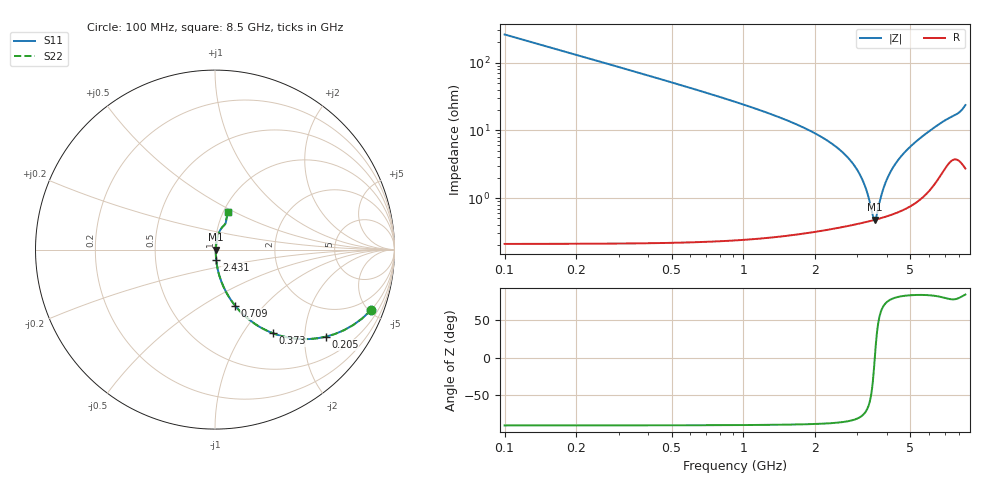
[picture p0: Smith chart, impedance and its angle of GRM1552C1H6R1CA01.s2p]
!Murata Part Number: GRM1552C1H6R1CA01
!These Parameters are Measured in Series Mode Connection
!Data Generated on Mar 30, 2021
!  o--ll--o
!Port1  Port2
!  o------o
!Operation Temp=25[degC], DC Bias Voltage=0[V]
!Freq. Start=100[MHz] Stop=9[GHz] 401[Steps]
# Hz S RI R 50
!Freq.(Hz) S11(Real) S11(Imag) S21(Real) S21(Imag) S12(Real) S12(Imag) S22(Real) S22(Imag)
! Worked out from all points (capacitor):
!   401 points, 100 MHz to 8.5 GHz, reference 50 ohm
!   read as one part in series: C = 6.1 pF near 142 MHz
!   lowest |Z| = 477 mohm at 3.544 GHz (marker M1)
!   series resonance near 3.549 GHz, so ESL is about 330 pH
!   S11 on the Smith chart (normalised r, x): 100 MHz: 1.00, -5.21; 205 MHz: 1.00, -2.54; 373 MHz: 1.00, -1.38; 709 MHz: 1.00, -0.71; 2.431 GHz: 1.01, -0.12; 8.5 GHz: 1.05, +0.47
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1e8  0.8715 -0.3342  0.1285 0.3342  0.1285 0.3342  0.8715 -0.3342
2.05e8  0.6166 -0.4854  0.3834 0.4854  0.3834 0.4854  0.6166 -0.4854
3.73e8  0.3243 -0.4666  0.6757 0.4666  0.6757 0.4666  0.3243 -0.4666
5.2e8  0.1955 -0.3943  0.8045 0.3943  0.8045 0.3943  0.1955 -0.3943
7.09e8  0.1127 -0.3131  0.8873 0.3131  0.8873 0.3131  0.1127 -0.3131
1.507e9  0.0225 -0.139  0.9775 0.139  0.9775 0.139  0.0225 -0.139
2.431e9  0.00686 -0.0573  0.9931 0.0573  0.9931 0.0573  0.00686 -0.0573
2.914e9  0.00492 -0.0296  0.9951 0.0296  0.9951 0.0296  0.00492 -0.0296
3.208e9  0.00458 -0.0152  0.9954 0.0152  0.9954 0.0152  0.00458 -0.0152
3.334e9  0.00458 -0.00945  0.9954 0.00945  0.9954 0.00945  0.00458 -0.00945
3.481e9  0.00468 -0.00295  0.9953 0.00295  0.9953 0.00295  0.00468 -0.00295
3.544e9  0.00474 -0.00023  0.9953 0.00023  0.9953 0.00023  0.00474 -0.00023
3.607e9  0.00483 0.00245  0.9952 -0.00245  0.9952 -0.00245  0.00483 0.00245
3.775e9  0.00513 0.00942  0.9949 -0.00942  0.9949 -0.00942  0.00513 0.00942
3.901e9  0.00543 0.0145  0.9946 -0.0145  0.9946 -0.0145  0.00543 0.0145
4.069e9  0.00592 0.0211  0.9941 -0.0211  0.9941 -0.0211  0.00592 0.0211
4.3e9  0.00677 0.03  0.9932 -0.03  0.9932 -0.03  0.00677 0.03
4.867e9  0.00976 0.0512  0.9902 -0.0512  0.9902 -0.0512  0.00976 0.0512
5.707e9  0.0174 0.0822  0.9826 -0.0822  0.9826 -0.0822  0.0174 0.0822
7.114e9  0.0473 0.1323  0.9527 -0.1323  0.9527 -0.1323  0.0473 0.1323
7.954e9  0.0622 0.1608  0.9378 -0.1608  0.9378 -0.1608  0.0622 0.1608
8.5e9  0.075 0.2116  0.925 -0.2116  0.925 -0.2116  0.075 0.2116
